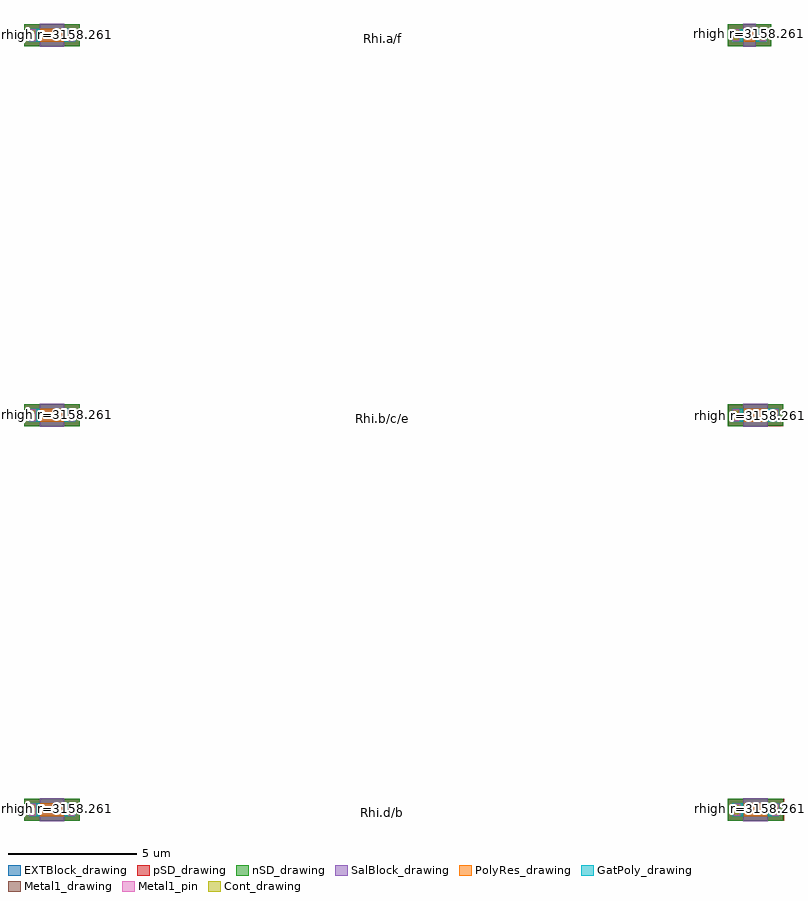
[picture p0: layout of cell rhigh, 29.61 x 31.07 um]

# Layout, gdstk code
import gdstk
lib = gdstk.Library(unit=1e-6, precision=1e-09)
def R(c, l, rs):  # rectangles x0, y0, x1, y1
    for r in rs: c.add(gdstk.rectangle(r[:2], r[2:], *l))
def P(c, l, *ps):  # polygons
    for p in ps: c.add(gdstk.Polygon(p, *l))
GatPoly_drawing = (5, 0)
Cont_drawing = (6, 0)
nSD_drawing = (7, 0)
Metal1_drawing = (8, 0)
Metal1_pin = (8, 2)
pSD_drawing = (14, 0)
SalBlock_drawing = (28, 0)
EXTBlock_drawing = (111, 0)
PolyRes_drawing = (128, 0)

rhigh = lib.new_cell('rhigh')
R(rhigh, GatPoly_drawing, [(-13.775,-37.815,-13.345,-37.315), (-12.385,-37.815,-11.955,-37.315), (13.635,-37.815,14.065,-37.315), (15.025,-37.815,15.475,-37.315), (-13.775,-22.44,-13.345,-21.94), (-12.385,-22.44,-11.955,-21.94), (13.635,-22.44,14.065,-21.94), (15.025,-22.44,15.455,-21.94), (-13.775,-7.64,-13.345,-7.14), (-12.385,-7.64,-11.955,-7.14), (13.635,-7.64,14.065,-7.15), (14.555,-7.64,14.985,-7.15)])
R(rhigh, Cont_drawing, [(-13.705,-37.745,-13.545,-37.385), (-12.185,-37.745,-12.025,-37.385), (13.74,-37.745,13.9,-37.385), (15.245,-37.745,15.405,-37.385), (-13.705,-22.37,-13.545,-22.01), (-12.185,-22.37,-12.025,-22.01), (13.705,-22.37,13.865,-22.01), (15.225,-22.37,15.385,-22.01), (-13.705,-7.57,-13.545,-7.21), (-12.185,-7.57,-12.025,-7.21), (13.705,-7.57,13.865,-7.22), (14.755,-7.57,14.915,-7.22)])
R(rhigh, nSD_drawing, [(-13.955,-37.995,-11.775,-37.135), (13.455,-37.995,15.635,-37.135), (-13.955,-22.62,-11.775,-21.76), (-13.955,-7.82,-11.775,-6.96), (13.455,-7.82,15.165,-6.96)])
P(rhigh, nSD_drawing, [(13.455,-22.62),(13.455,-21.76),(15.625,-21.76),(15.625,-22.61),(15.025,-22.61),(15.025,-22.62)])
R(rhigh, Metal1_drawing, [(-13.755,-37.795,-13.495,-37.335), (-12.235,-37.795,-11.975,-37.335), (13.69,-37.795,13.95,-37.335), (15.195,-37.795,15.455,-37.335), (-13.755,-22.42,-13.495,-21.96), (-12.235,-22.42,-11.975,-21.96), (13.655,-22.42,13.915,-21.96), (15.175,-22.42,15.435,-21.96), (-13.755,-7.62,-13.495,-7.16), (-12.235,-7.62,-11.975,-7.16), (13.655,-7.62,13.915,-7.16), (14.705,-7.62,14.965,-7.16)])
R(rhigh, Metal1_pin, [(-13.755,-37.795,-13.495,-37.335), (-12.235,-37.795,-11.975,-37.335), (13.69,-37.795,13.95,-37.335), (15.195,-37.795,15.455,-37.335), (-13.755,-22.42,-13.495,-21.96), (-12.235,-22.42,-11.975,-21.96), (13.655,-22.42,13.915,-21.96), (15.175,-22.42,15.435,-21.96), (-13.755,-7.62,-13.495,-7.16), (-12.235,-7.62,-11.975,-7.16), (13.655,-7.62,13.915,-7.16), (14.705,-7.62,14.965,-7.16)])
R(rhigh, pSD_drawing, [(-13.955,-37.995,-11.775,-37.135), (13.455,-37.995,15.655,-37.135), (-13.955,-22.62,-11.775,-21.76), (13.465,-22.62,15.635,-21.77), (-13.955,-7.82,-11.775,-6.96), (13.455,-7.82,15.165,-6.96)])
R(rhigh, SalBlock_drawing, [(-13.345,-38.015,-12.385,-37.115), (14.065,-38.015,15.025,-37.115), (-13.345,-22.64,-12.385,-21.74), (14.065,-22.64,15.025,-21.74), (-13.345,-7.84,-12.385,-6.94), (14.065,-7.84,14.555,-6.94)])
P(rhigh, EXTBlock_drawing, [(-13.345,-7.84),(-13.345,-7.82),(-13.955,-7.82),(-13.955,-6.96),(-13.345,-6.96),(-13.345,-6.94),(-12.385,-6.94),(-12.385,-6.96),(-11.775,-6.96),(-11.775,-7.82),(-12.385,-7.82),(-12.385,-7.84)],
  [(-13.345,-22.64),(-13.345,-22.62),(-13.955,-22.62),(-13.955,-21.76),(-13.345,-21.76),(-13.345,-21.74),(-12.385,-21.74),(-12.385,-21.76),(-11.775,-21.76),(-11.775,-22.62),(-12.385,-22.62),(-12.385,-22.64)],
  [(-13.345,-38.015),(-13.345,-37.995),(-13.955,-37.995),(-13.955,-37.135),(-13.345,-37.135),(-13.345,-37.115),(-12.385,-37.115),(-12.385,-37.135),(-11.775,-37.135),(-11.775,-37.995),(-12.385,-37.995),(-12.385,-38.015)],
  [(14.065,-7.84),(14.065,-7.82),(13.455,-7.82),(13.455,-6.96),(14.065,-6.96),(14.065,-6.94),(14.555,-6.94),(14.555,-6.96),(15.165,-6.96),(15.165,-7.82),(14.555,-7.82),(14.555,-7.84)],
  [(14.065,-22.64),(14.065,-22.62),(13.48,-22.62),(13.48,-21.78),(14.065,-21.78),(14.065,-21.74),(15.025,-21.74),(15.025,-21.76),(15.635,-21.76),(15.635,-22.62),(15.025,-22.62),(15.025,-22.64)],
  [(14.065,-38.015),(14.065,-37.995),(13.455,-37.995),(13.455,-37.135),(14.065,-37.135),(14.065,-37.115),(15.025,-37.115),(15.025,-37.135),(15.635,-37.135),(15.635,-37.995),(15.025,-37.995),(15.025,-38.015)])
R(rhigh, PolyRes_drawing, [(-13.345,-37.815,-12.385,-37.315), (14.065,-37.815,15.025,-37.315), (-13.345,-22.44,-12.385,-21.94), (14.065,-22.44,15.025,-21.94), (-13.345,-7.64,-12.385,-7.14), (14.065,-7.64,14.555,-7.15)])
rhigh.add(gdstk.Label('rhigh r=3158.261', (14.31,-7.305), layer=63, texttype=0))
rhigh.add(gdstk.Label('rhigh r=3158.261', (14.45,-22.19), layer=63, texttype=0))
rhigh.add(gdstk.Label('rhigh r=3158.261', (14.45,-37.525), layer=63, texttype=0))
rhigh.add(gdstk.Label('rhigh r=3158.261', (-12.885,-37.525), layer=63, texttype=0))
rhigh.add(gdstk.Label('rhigh r=3158.261', (-12.885,-22.155), layer=63, texttype=0))
rhigh.add(gdstk.Label('rhigh r=3158.261', (-12.885,-7.36), layer=63, texttype=0))
rhigh.add(gdstk.Label('Rhi.a/f', (0,-7.51), layer=63, texttype=0))
rhigh.add(gdstk.Label('FAIL', (12,5), layer=63, texttype=0))
rhigh.add(gdstk.Label('PASS', (-12,5), layer=63, texttype=0))
rhigh.add(gdstk.Label('Rhi.d/b', (0,-37.69), layer=63, texttype=0))
rhigh.add(gdstk.Label('Rhi.b/c/e', (0,-22.31), layer=63, texttype=0))
rhigh.add(gdstk.Label('6.4 Rhigh', (0,21), layer=63, texttype=0))

lib.write_gds('rhigh.gds')
